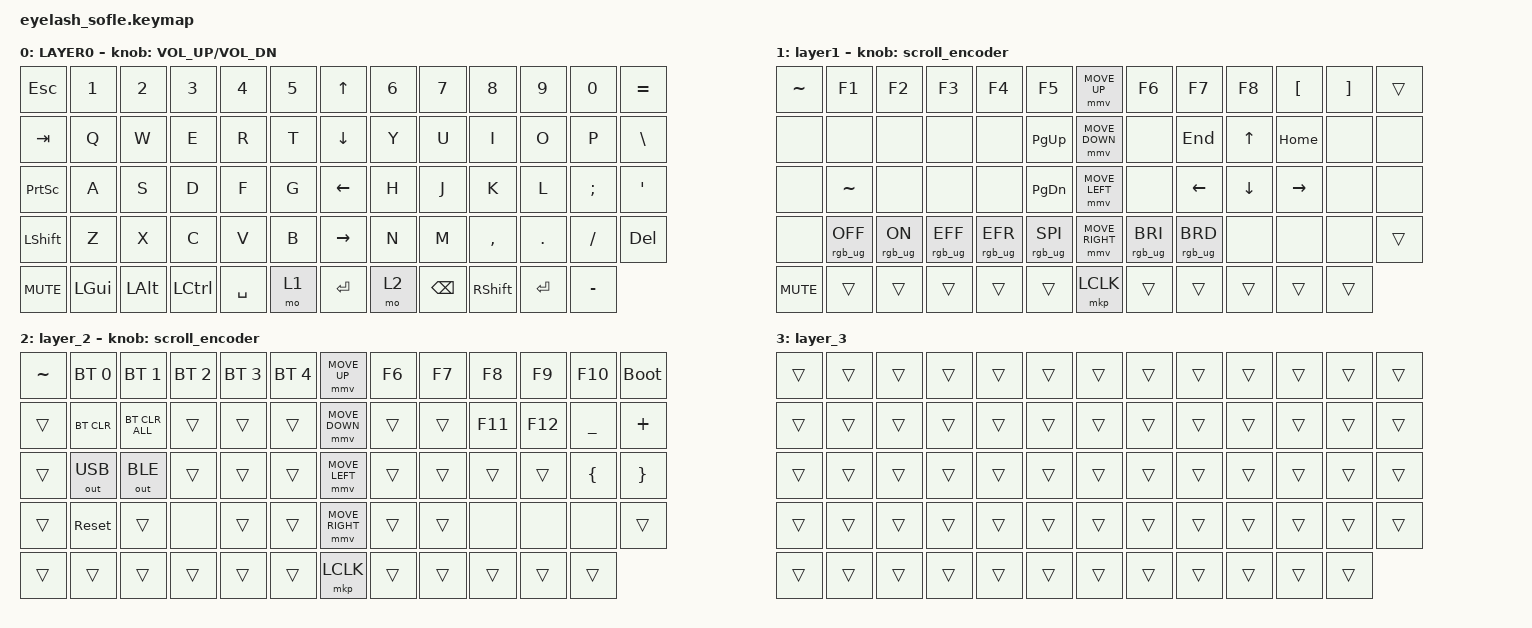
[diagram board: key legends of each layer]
#define ZMK_POINTING_DEFAULT_MOVE_VAL 1200  // 600
#define ZMK_POINTING_DEFAULT_SCRL_VAL 25   // 10

#include <input/processors.dtsi>
#include <zephyr/dt-bindings/input/input-event-codes.h>
#include <behaviors.dtsi>
#include <dt-bindings/zmk/bt.h>
#include <dt-bindings/zmk/keys.h>
#include <dt-bindings/zmk/outputs.h>
#include <dt-bindings/zmk/pointing.h>
#include <dt-bindings/zmk/rgb.h>

&mmv_input_listener { input-processors = <&zip_xy_scaler 2 1>; };

&msc_input_listener { input-processors = <&zip_scroll_scaler 2 1>; };

&msc {
    acceleration-exponent = <1>;      // 0
    time-to-max-speed-ms = <100>;       // 300
    delay-ms = <0>;                   // 0
};

&mmv {
    time-to-max-speed-ms = <500>;
    acceleration-exponent = <1>;
    trigger-period-ms = <16>;
};

/ {
    scroll_encoder: scroll_encoder {
        compatible = "zmk,behavior-sensor-rotate";
        #sensor-binding-cells = <0>;
        bindings = <&msc SCRL_DOWN>, <&msc SCRL_UP>;

        tap-ms = <100>;
    };

    behaviors {
    };

    combos {
        compatible = "zmk,combos";

        caps {
            bindings = <&kp CAPS>;
            key-positions = <60 56>;
            layers = <0>;
        };
    };

    keymap {
        compatible = "zmk,keymap";

        layer0 {
            bindings = <
&kp ESC          &kp N1        &kp N2        &kp N3            &kp N4     &kp N5    &kp UP_ARROW     &kp N6  &kp N7         &kp N8           &kp N9     &kp N0     &kp EQUAL
&kp TAB          &kp Q         &kp W         &kp E             &kp R      &kp T     &kp DOWN_ARROW   &kp Y   &kp U          &kp I            &kp O      &kp P      &kp BSLH
&kp PRINTSCREEN  &kp A         &kp S         &kp D             &kp F      &kp G     &kp LEFT_ARROW   &kp H   &kp J          &kp K            &kp L      &kp SEMI   &kp APOS
&kp LSHFT        &kp Z         &kp X         &kp C             &kp V      &kp B     &kp RIGHT_ARROW  &kp N   &kp M          &kp COMMA        &kp DOT    &kp FSLH   &kp DELETE
&kp C_MUTE       &kp LEFT_GUI  &kp LEFT_ALT  &kp LEFT_CONTROL  &kp SPACE  &mo 1     &kp ENTER        &mo 2   &kp BACKSPACE  &kp RIGHT_SHIFT  &kp ENTER  &kp MINUS
            >;

            sensor-bindings = <&inc_dec_kp C_VOLUME_UP C_VOL_DN>;
            display-name = "LAYER0";
        };

        layer_1 {
            bindings = <
&kp TILDE   &kp F1           &kp F2          &kp F3           &kp F4           &kp F5             &mmv MOVE_UP     &kp F6           &kp F7           &kp F8    &kp LEFT_BRACKET  &kp RIGHT_BRACKET  &trans
&none       &none            &none           &none            &none            &kp PAGE_UP        &mmv MOVE_DOWN   &none            &kp END          &kp UP    &kp HOME          &none              &none
&none       &kp TILDE        &none           &none            &none            &kp PAGE_DOWN      &mmv MOVE_LEFT   &none            &kp LEFT         &kp DOWN  &kp RIGHT         &none              &none
&none       &rgb_ug RGB_OFF  &rgb_ug RGB_ON  &rgb_ug RGB_EFF  &rgb_ug RGB_EFR  &rgb_ug RGB_SPI    &mmv MOVE_RIGHT  &rgb_ug RGB_BRI  &rgb_ug RGB_BRD  &none     &none             &none              &trans
&kp C_MUTE  &trans           &trans          &trans           &trans           &trans             &mkp LCLK        &trans           &trans           &trans    &trans            &trans
            >;

            display-name = "layer1";
            sensor-bindings = <&scroll_encoder>;
        };

        layer_2 {
            bindings = <
&kp TILDE  &bt BT_SEL 0  &bt BT_SEL 1    &bt BT_SEL 2  &bt BT_SEL 3  &bt BT_SEL 4    &mmv MOVE_UP     &kp F6  &kp F7  &kp F8   &kp F9   &kp F10    &bootloader
&trans     &bt BT_CLR    &bt BT_CLR_ALL  &trans        &trans        &trans          &mmv MOVE_DOWN   &trans  &trans  &kp F11  &kp F12  &kp UNDER  &kp PLUS
&trans     &out OUT_USB  &out OUT_BLE    &trans        &trans        &trans          &mmv MOVE_LEFT   &trans  &trans  &trans   &trans   &kp LBRC   &kp RBRC
&trans     &sys_reset    &trans          &none         &trans        &trans          &mmv MOVE_RIGHT  &trans  &trans  &none    &none    &none      &trans
&trans     &trans        &trans          &trans        &trans        &trans          &mkp LCLK        &trans  &trans  &trans   &trans   &trans
            >;

            sensor-bindings = <&scroll_encoder>;
        };

        layer_3 {
            bindings = <
&trans  &trans  &trans  &trans  &trans  &trans    &trans  &trans  &trans  &trans  &trans  &trans  &trans
&trans  &trans  &trans  &trans  &trans  &trans    &trans  &trans  &trans  &trans  &trans  &trans  &trans
&trans  &trans  &trans  &trans  &trans  &trans    &trans  &trans  &trans  &trans  &trans  &trans  &trans
&trans  &trans  &trans  &trans  &trans  &trans    &trans  &trans  &trans  &trans  &trans  &trans  &trans
&trans  &trans  &trans  &trans  &trans  &trans    &trans  &trans  &trans  &trans  &trans  &trans
            >;
        };
    };
};
